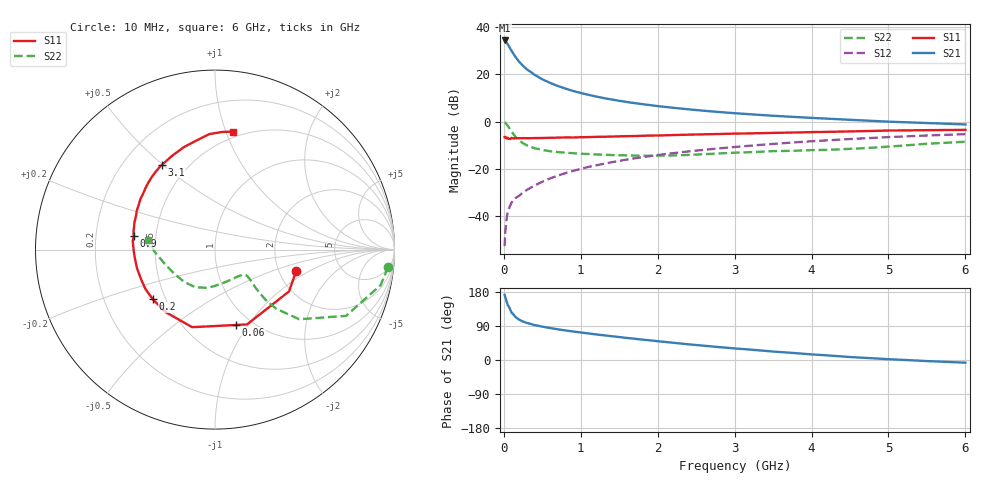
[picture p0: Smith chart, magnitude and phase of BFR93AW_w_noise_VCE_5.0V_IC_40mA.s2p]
! Infineon Technologies  Discrete & RF Semiconductors
! BFR93AW
! VCE =  5.0 V,  IC =  40 mA
! Common Emitter S-Parameters:  Jan 2017
# GHz  S  MA  R  50
!  f  S11  S21  S12  S22
! GHz  MAG  ANG  MAG  ANG  MAG  ANG  MAG  ANG
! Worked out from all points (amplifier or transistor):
!   77 points, 10 MHz to 6 GHz, reference 50 ohm
!   highest |S21| = 34.3 dB at 10 MHz (marker M1)
!   |S21| within 3 dB of that: start of sweep to 75.37 MHz
!   unconditionally stable (mu >= 1): 509.1 MHz to 2.028 GHz
!   at 130 MHz: K = 0.57, MSG = 30.8 dB, |S12| = -33.2 dB
!   at 2.2 GHz: K = 0.99, MSG = 9.6 dB, |S12| = -13.4 dB
!   at 6 GHz: K = 0.88, MSG = 2.1 dB, |S12| = -5.4 dB
!   lowest NFmin = 2.04 dB at 450 MHz
!   S11 on the Smith chart (normalised r, x): 10 MHz: 2.48, -0.76; 60 MHz: 0.85, -0.88; 200 MHz: 0.42, -0.29; 900 MHz: 0.37, +0.07; 3.1 GHz: 0.36, +0.50; 6 GHz: 0.45, +1.06
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0.01  0.4675 -14.8  51.94 171.9  0.0023 80.3  0.9689 -5.8
0.02  0.4739 -29.4  51.32 164.6  0.0049 83.3  0.9441 -12.1
0.05  0.4535 -66.8  43.55 145.3  0.0122 69.4  0.8187 -26.8
0.06  0.436 -74.4  40.77 142.2  0.0135 66.8  0.7741 -28.8
0.1  0.4505 -106.4  31.32 125.0  0.0191 60.3  0.6087 -39.6
0.15  0.4438 -128.3  23.35 113.7  0.0239 59.6  0.4754 -44.0
0.2  0.4437 -141.5  18.34 106.5  0.027 62.3  0.3962 -44.8
0.25  0.4453 -150.5  15.05 101.4  0.0316 62.7  0.3469 -44.2
0.3  0.4437 -157.3  12.69 97.8  0.0357 64.4  0.3122 -43.3
0.4  0.4465 -166.2  9.71 92.1  0.044 67.3  0.2724 -41.3
0.5  0.4485 -172.8  7.828 87.9  0.0531 68.3  0.2499 -40.1
0.6  0.4519 -178.1  6.579 84.3  0.0622 69.7  0.2355 -39.5
0.7  0.4556 177.8  5.662 81.1  0.0714 71.0  0.2256 -39.4
0.9  0.4595 170.6  4.432 75.2  0.0902 71.0  0.2134 -41.1
1.1  0.4685 164.3  3.671 70.1  0.1095 70.6  0.205 -44.1
1.3  0.4759 158.8  3.131 65.2  0.1276 69.7  0.1989 -48.0
1.5  0.4859 154.0  2.743 60.6  0.1467 68.7  0.1931 -53.3
2.1  0.511 140.7  2.036 47.6  0.2042 64.2  0.1902 -73.3
3.1  0.5573 121.9  1.463 29.0  0.2982 55.0  0.2214 -106.6
4.1  0.5999 105.4  1.171 13.5  0.3907 44.7  0.2495 -136.0
5.1  0.6461 91.5  0.98 1.2  0.4748 33.7  0.3021 -168.5
6  0.6657 81.1  0.867 -7.1  0.5398 23.6  0.3742 172.1
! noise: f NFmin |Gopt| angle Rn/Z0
0.45  2.04  0.23  -180  0.16
0.9  2.33  0.29  -170  0.17
1.9  3.4  0.52  -133  0.35
2.4  4.1  0.57  -123  0.66
